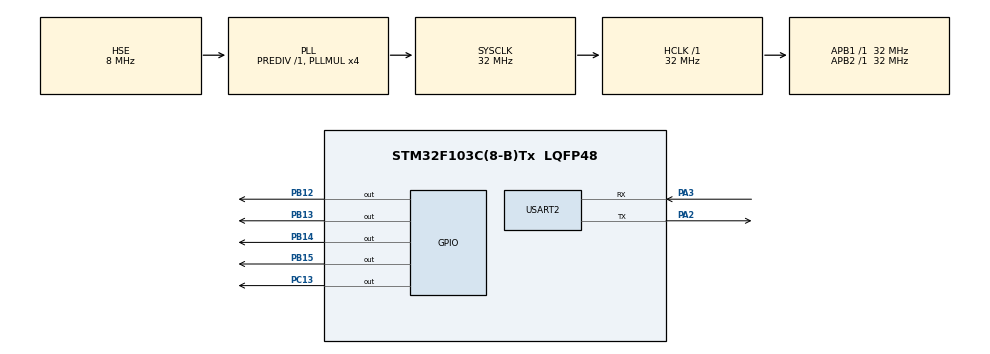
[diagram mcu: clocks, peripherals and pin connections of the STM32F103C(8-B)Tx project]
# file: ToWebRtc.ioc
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Mcu.Family=STM32F1
Mcu.Name=STM32F103C(8-B)Tx
Mcu.Package=LQFP48
NVIC.PriorityGroup=NVIC_PRIORITYGROUP_4
NVIC.USART2_IRQn=true\:0\:0\:false\:false\:true\:true\:true
PA13.Mode=Serial_Wire
PA13.Signal=SYS_JTMS-SWDIO
PA14.Mode=Serial_Wire
PA14.Signal=SYS_JTCK-SWCLK
PA2.Mode=Asynchronous
PA2.Signal=USART2_TX
PA3.Mode=Asynchronous
PA3.Signal=USART2_RX
PB12.Signal=GPIO_Output
PB13.Signal=GPIO_Output
PB14.Signal=GPIO_Output
PB15.Signal=GPIO_Output
PC13-TAMPER-RTC.Signal=GPIO_Output
PD0-OSC_IN.Mode=HSE-External-Oscillator
PD0-OSC_IN.Signal=RCC_OSC_IN
PD1-OSC_OUT.Mode=HSE-External-Oscillator
PD1-OSC_OUT.Signal=RCC_OSC_OUT
ProjectManager.HeapSize=0x200
ProjectManager.StackSize=0x400
ProjectManager.TargetToolchain=STM32CubeIDE
RCC.AHBFreq_Value=32000000
RCC.APB1Freq_Value=32000000
RCC.APB1TimFreq_Value=32000000
RCC.APB2Freq_Value=32000000
RCC.APB2TimFreq_Value=32000000
RCC.HCLKFreq_Value=32000000
RCC.PLLMUL=RCC_PLL_MUL4
RCC.PLLSourceVirtual=RCC_PLLSOURCE_HSE
RCC.SYSCLKFreq_VALUE=32000000
RCC.SYSCLKSource=RCC_SYSCLKSOURCE_PLLCLK
RCC.USBFreq_Value=32000000
USART2.VirtualMode=VM_ASYNC
board=custom

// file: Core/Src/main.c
/* USER CODE BEGIN Header */
/**
  ******************************************************************************
  * @file           : main.c
  * @brief          : Main program body
  ******************************************************************************
  * @attention
  *
  * <h2><center>&copy; Copyright (c) 2021 STMicroelectronics.
  * All rights reserved.</center></h2>
  *
  * This software component is licensed by ST under BSD 3-Clause license,
  * the "License"; You may not use this file except in compliance with the
  * License. You may obtain a copy of the License at:
  *                        opensource.org/licenses/BSD-3-Clause
  *
  ******************************************************************************
  */
/* USER CODE END Header */
#include "main.h"

/* USER CODE BEGIN Includes */
#include "queue_char.h"
#include "pars_cmd.h"
/* USER CODE END Includes */

UART_HandleTypeDef huart2;

/* USER CODE BEGIN PV */

#define BUFFER_SIZE 1

char uart_txbuff[BUFFER_SIZE];
char uart_rxbuff[BUFFER_SIZE];

struct queue_char qchar;

/* USER CODE END PV */

void SystemClock_Config(void);
static void MX_GPIO_Init(void);
static void MX_USART2_UART_Init(void);
/* USER CODE BEGIN PFP */

void HAL_UART_RxCpltCallback(UART_HandleTypeDef *huart) {

	 if(huart == &huart2) {
		 /*
		 if( dataTransmitted != 0 ) {
			 HAL_UART_Transmit_IT(&huart1, str, 1);
			 dataReceived=0;
			 dataTransmitted=0;
		}
		*/

		 char_push(&qchar, uart_rxbuff[0]);

		 HAL_UART_Receive_IT (&huart2, uart_rxbuff, BUFFER_SIZE);
	 }
}
/*
void HAL_UART_TxCpltCallback(UART_HandleTypeDef *huart) {

  if(huart == &huart1) {

    dataTransmitted=1;

    if( dataReceived != 0 ) {
      HAL_UART_Transmit_IT(&huart1, str, 1);
      dataReceived=0;
      dataTransmitted=0;
    }
  }
}
*/
/* USER CODE END PFP */

int main(void)
{

  /* MCU Configuration--------------------------------------------------------*/

  /* Reset of all peripherals, Initializes the Flash interface and the Systick. */
  HAL_Init();

  /* Configure the system clock */
  SystemClock_Config();

  /* Initialize all configured peripherals */
  MX_GPIO_Init();
  MX_USART2_UART_Init();

  /* Infinite loop */
  /* USER CODE BEGIN WHILE */

  queue_char_init(&qchar);
  processing_init(&huart2, GPIOB, GPIO_PIN_12, GPIO_PIN_13, GPIO_PIN_14, GPIO_PIN_15);

  HAL_UART_Receive_IT (&huart2, uart_rxbuff, BUFFER_SIZE);

  while (1)
  {
    /* USER CODE END WHILE */

    /* USER CODE BEGIN 3 */

	  processing_cmd(&qchar);

	  HAL_GPIO_TogglePin(GPIOC, GPIO_PIN_13);
	  HAL_Delay(30);

	/*
	  HAL_GPIO_WritePin(GPIOB, GPIO_PIN_12, GPIO_PIN_SET);
	  HAL_GPIO_WritePin(GPIOB, GPIO_PIN_13, GPIO_PIN_RESET);

	  HAL_GPIO_WritePin(GPIOB, GPIO_PIN_14, GPIO_PIN_RESET);
	  HAL_GPIO_WritePin(GPIOB, GPIO_PIN_15, GPIO_PIN_SET);

	  HAL_GPIO_TogglePin(GPIOC, GPIO_PIN_13);

	  HAL_Delay(1000);

	  HAL_GPIO_WritePin(GPIOB, GPIO_PIN_12, GPIO_PIN_RESET);
	  HAL_GPIO_WritePin(GPIOB, GPIO_PIN_13, GPIO_PIN_SET);

	  HAL_GPIO_WritePin(GPIOB, GPIO_PIN_14, GPIO_PIN_SET);
	  HAL_GPIO_WritePin(GPIOB, GPIO_PIN_15, GPIO_PIN_RESET);

	  HAL_GPIO_TogglePin(GPIOC, GPIO_PIN_13);

	  HAL_Delay(1000);
	  */

  }
  /* USER CODE END 3 */
}

void SystemClock_Config(void)
{
  RCC_OscInitTypeDef RCC_OscInitStruct = {0};
  RCC_ClkInitTypeDef RCC_ClkInitStruct = {0};

  /** Initializes the RCC Oscillators according to the specified parameters
  * in the RCC_OscInitTypeDef structure.
  */
  RCC_OscInitStruct.OscillatorType = RCC_OSCILLATORTYPE_HSE;
  RCC_OscInitStruct.HSEState = RCC_HSE_ON;
  RCC_OscInitStruct.HSEPredivValue = RCC_HSE_PREDIV_DIV1;
  RCC_OscInitStruct.HSIState = RCC_HSI_ON;
  RCC_OscInitStruct.PLL.PLLState = RCC_PLL_ON;
  RCC_OscInitStruct.PLL.PLLSource = RCC_PLLSOURCE_HSE;
  RCC_OscInitStruct.PLL.PLLMUL = RCC_PLL_MUL4;
  if (HAL_RCC_OscConfig(&RCC_OscInitStruct) != HAL_OK)
  {
    Error_Handler();
  }
  /** Initializes the CPU, AHB and APB buses clocks
  */
  RCC_ClkInitStruct.ClockType = RCC_CLOCKTYPE_HCLK|RCC_CLOCKTYPE_SYSCLK
                              |RCC_CLOCKTYPE_PCLK1|RCC_CLOCKTYPE_PCLK2;
  RCC_ClkInitStruct.SYSCLKSource = RCC_SYSCLKSOURCE_PLLCLK;
  RCC_ClkInitStruct.AHBCLKDivider = RCC_SYSCLK_DIV1;
  RCC_ClkInitStruct.APB1CLKDivider = RCC_HCLK_DIV1;
  RCC_ClkInitStruct.APB2CLKDivider = RCC_HCLK_DIV1;

  if (HAL_RCC_ClockConfig(&RCC_ClkInitStruct, FLASH_LATENCY_1) != HAL_OK)
  {
    Error_Handler();
  }
}

static void MX_USART2_UART_Init(void)
{

  huart2.Instance = USART2;
  huart2.Init.BaudRate = 115200;
  huart2.Init.WordLength = UART_WORDLENGTH_8B;
  huart2.Init.StopBits = UART_STOPBITS_1;
  huart2.Init.Parity = UART_PARITY_NONE;
  huart2.Init.Mode = UART_MODE_TX_RX;
  huart2.Init.HwFlowCtl = UART_HWCONTROL_NONE;
  huart2.Init.OverSampling = UART_OVERSAMPLING_16;
  if (HAL_UART_Init(&huart2) != HAL_OK)
  {
    Error_Handler();
  }

}

static void MX_GPIO_Init(void)
{
  GPIO_InitTypeDef GPIO_InitStruct = {0};

  /* GPIO Ports Clock Enable */
  __HAL_RCC_GPIOC_CLK_ENABLE();
  __HAL_RCC_GPIOD_CLK_ENABLE();
  __HAL_RCC_GPIOA_CLK_ENABLE();
  __HAL_RCC_GPIOB_CLK_ENABLE();

  /*Configure GPIO pin Output Level */
  HAL_GPIO_WritePin(GPIOC, GPIO_PIN_13, GPIO_PIN_RESET);

  /*Configure GPIO pin Output Level */
  HAL_GPIO_WritePin(GPIOB, GPIO_PIN_12|GPIO_PIN_13|GPIO_PIN_14|GPIO_PIN_15, GPIO_PIN_RESET);

  /*Configure GPIO pin : PC13 */
  GPIO_InitStruct.Pin = GPIO_PIN_13;
  GPIO_InitStruct.Mode = GPIO_MODE_OUTPUT_PP;
  GPIO_InitStruct.Pull = GPIO_NOPULL;
  GPIO_InitStruct.Speed = GPIO_SPEED_FREQ_LOW;
  HAL_GPIO_Init(GPIOC, &GPIO_InitStruct);

  /*Configure GPIO pins : PB12 PB13 PB14 PB15 */
  GPIO_InitStruct.Pin = GPIO_PIN_12|GPIO_PIN_13|GPIO_PIN_14|GPIO_PIN_15;
  GPIO_InitStruct.Mode = GPIO_MODE_OUTPUT_PP;
  GPIO_InitStruct.Pull = GPIO_NOPULL;
  GPIO_InitStruct.Speed = GPIO_SPEED_FREQ_LOW;
  HAL_GPIO_Init(GPIOB, &GPIO_InitStruct);

}

void Error_Handler(void)
{
  __disable_irq();
  while (1)
  {
  }
}

/************************ (C) COPYRIGHT STMicroelectronics *****END OF FILE****/
